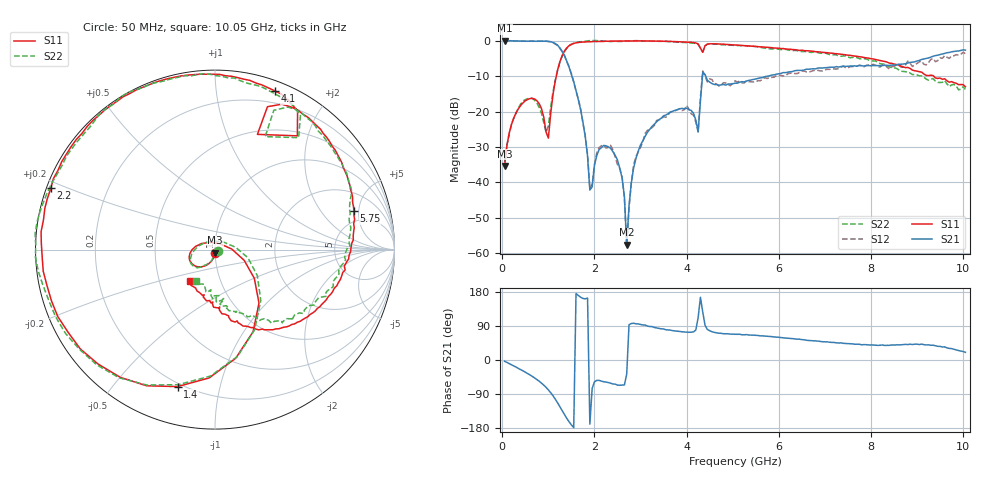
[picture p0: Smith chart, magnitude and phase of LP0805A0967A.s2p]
! AVX THIN FILM OPERATION
! 0805 Size Low Pass Filter P/N  LP0805A0967AWTR
! Network Analyzer HP8720ES.07.64: Feb 23, 2000 Serial No. US39172382
! Hewlett-Packard
!  2 Feb 2003  02:49:11
! Frequency  S11  S21  S12  S22
# HZ  S  DB R  50
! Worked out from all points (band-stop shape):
!   201 points, 50 MHz to 10.05 GHz, reference 50 ohm
!   highest |S21| = -0.01 dB at 50 MHz (marker M1); lowest = -57.6 dB at 2.7 GHz (marker M2)
!   |S21| within 3 dB of the highest: start of sweep to 1.3 GHz; 9.814 GHz to end of sweep
!   lowest |S11| = -35.3 dB at 50 MHz (marker M3), VSWR 1.03, Z = 50 - j1.71 ohm
!   |S11| at or under -10 dB: start of sweep to 1.172 GHz; 9.36 GHz to end of sweep
!   |S22| runs from -34.2 to 0.1 dB; largest |S21 - S12| = 0.15
!   S11 on the Smith chart (normalised r, x): 50 MHz: 1.00, -0.03; 1.4 GHz: 0.18, -0.75; 2.2 GHz: 0.01, +0.18; 4.1 GHz: 0.09, +1.44; 5.75 GHz: 3.63, +4.40; 10.05 GHz: 0.72, -0.27
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5e7  -35.33 -87.9  -0.01 -3.5  0.00 -3.2  -34.23 -18.7
2e8  -23.61 -106.8  -0.03 -12.7  -0.06 -12.6  -23.67 -107.0
5e8  -16.98 -139.0  -0.14 -32.1  -0.15 -32.6  -16.62 -138.7
8e8  -17.78 -179.1  -0.17 -56.0  -0.14 -56.1  -18.85 -178.9
1e9  -27.51 51.8  -0.21 -78.9  -0.23 -79.0  -24.05 42.0
1.2e9  -8.27 -50.6  -1.30 -113.1  -1.34 -112.9  -8.35 -48.1
1.4e9  -2.03 -105.3  -5.82 -154.3  -5.88 -154.9  -2.15 -105.3
1.75e9  -0.40 -162.6  -23.03 162.6  -23.29 160.4  -0.28 -162.7
1.9e9  -0.32 -177.3  -42.16 -169.4  -41.74 -171.3  0.01 -177.6
2.2e9  -0.21 159.5  -29.57 -57.4  -29.44 -62.2  -0.11 161.5
2.6e9  -0.10 136.0  -38.80 -66.1  -38.50 -68.0  -0.21 135.6
2.7e9  -0.10 131.0  -57.61 -37.1  -57.99 -20.0  -0.06 130.2
2.85e9  -0.09 123.5  -35.93 97.0  -35.05 98.3  -0.03 122.6
3.4e9  -0.14 99.0  -22.32 83.4  -22.34 78.5  -0.20 98.0
4.1e9  -0.49 69.4  -19.70 73.3  -20.63 70.5  -0.67 67.1
4.25e9  -0.93 59.2  -25.74 111.9  -25.72 118.4  -1.06 57.5
4.35e9  -3.30 69.8  -8.97 126.6  -8.57 121.4  -3.24 66.0
5.05e9  -1.22 39.7  -11.99 67.8  -11.34 65.6  -1.34 37.0
5.75e9  -1.91 15.6  -10.05 62.6  -10.68 59.5  -2.16 14.9
6.75e9  -3.00 -16.6  -7.93 50.5  -8.45 50.4  -3.23 -17.0
8.4e9  -6.33 -64.2  -7.02 38.7  -7.96 33.5  -7.47 -60.1
1.005e10  -13.02 -128.0  -2.67 20.3  -3.69 18.2  -13.79 -121.7
